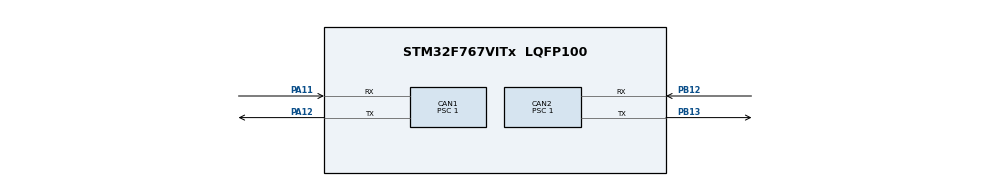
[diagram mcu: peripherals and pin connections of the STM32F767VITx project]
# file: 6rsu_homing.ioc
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CAN1.BS1=CAN_BS1_14TQ
CAN1.CalculateBaudRate=1000000
CAN1.CalculateTimeBit=1000
CAN1.CalculateTimeQuantum=62.5
CAN1.Prescaler=1
CAN2.BS1=CAN_BS1_14TQ
CAN2.CalculateBaudRate=1000000
CAN2.CalculateTimeBit=1000
CAN2.CalculateTimeQuantum=62.5
CAN2.Prescaler=1
Mcu.Family=STM32F7
Mcu.Name=STM32F767VITx
Mcu.Package=LQFP100
NVIC.CAN1_RX0_IRQn=true\:0\:0\:false\:false\:true\:true\:true\:true
NVIC.CAN1_RX1_IRQn=true\:0\:0\:false\:false\:true\:true\:true\:true
NVIC.CAN1_SCE_IRQn=true\:0\:0\:false\:false\:true\:true\:true\:true
NVIC.CAN1_TX_IRQn=true\:0\:0\:false\:false\:true\:true\:true\:true
NVIC.CAN2_RX0_IRQn=true\:0\:0\:false\:false\:true\:true\:true\:true
NVIC.CAN2_RX1_IRQn=true\:0\:0\:false\:false\:true\:true\:true\:true
NVIC.CAN2_SCE_IRQn=true\:0\:0\:false\:false\:true\:true\:true\:true
NVIC.CAN2_TX_IRQn=true\:0\:0\:false\:false\:true\:true\:true\:true
NVIC.PriorityGroup=NVIC_PRIORITYGROUP_4
NVIC.RCC_IRQn=true\:0\:0\:false\:false\:true\:true\:false\:true
NVIC.TIM8_TRG_COM_TIM14_IRQn=true\:0\:0\:false\:false\:true\:true\:true\:true
PA11.Mode=CAN_Activate
PA11.Signal=CAN1_RX
PA12.Mode=CAN_Activate
PA12.Signal=CAN1_TX
PA13.Mode=Serial_Wire
PA13.Signal=SYS_JTMS-SWDIO
PA14.Mode=Serial_Wire
PA14.Signal=SYS_JTCK-SWCLK
PB12.Mode=CAN_Activate
PB12.Signal=CAN2_RX
PB13.Mode=CAN_Activate
PB13.Signal=CAN2_TX
PH0/OSC_IN.Mode=HSE-External-Oscillator
PH0/OSC_IN.Signal=RCC_OSC_IN
PH1/OSC_OUT.Mode=HSE-External-Oscillator
PH1/OSC_OUT.Signal=RCC_OSC_OUT
ProjectManager.HeapSize=0x200
ProjectManager.StackSize=0x400
ProjectManager.TargetToolchain=STM32CubeIDE
RCC.HSE_VALUE=25000000
RCC.HSI_VALUE=16000000
RCC.LSE_VALUE=32768
RCC.USBFreq_Value=96000000
RCC.VCOOutputFreq_Value=192000000
TIM14.Period=999
TIM14.Prescaler=15
VP_TIM14_VS_ClockSourceINT.Mode=Enable_Timer
board=custom

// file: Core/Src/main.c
/* USER CODE BEGIN Header */
/**
  ******************************************************************************
  * @file           : main.c
  * @brief          : Main program body
  ******************************************************************************
  * @attention
  *
  * Copyright (c) 2024 STMicroelectronics.
  * All rights reserved.
  *
  * This software is licensed under terms that can be found in the LICENSE file
  * in the root directory of this software component.
  * If no LICENSE file comes with this software, it is provided AS-IS.
  *
  ******************************************************************************
  */
/* USER CODE END Header */
#include "main.h"

/* USER CODE BEGIN Includes */
#include "CO_app_STM32.h"
#include "CANopen.h"
#include "../CANopenNode/301/CO_SDOclient.h"
#include "../CANopenNode/301/CO_NMT_Heartbeat.h"
#include "../CANopenNode/301/CO_PDO.h"
#include "OD.h"
#include "math.h"
/* USER CODE END Includes */

CAN_HandleTypeDef hcan1;
CAN_HandleTypeDef hcan2;

TIM_HandleTypeDef htim14;

/* USER CODE BEGIN PV */
int8_t homing_method = 0x1;
int32_t homing_speeds_a = 1000;
int32_t homing_speeds_b = 1000;
int32_t homing_ACC = 800;
int32_t homeoffset ;
/* USER CODE END PV */

void SystemClock_Config(void);
static void MPU_Initialize(void);
static void MPU_Config(void);
static void MX_GPIO_Init(void);
static void MX_CAN1_Init(void);
static void MX_CAN2_Init(void);
static void MX_TIM14_Init(void);

/* USER CODE BEGIN 0 */
CO_SDO_abortCode_t read_SDO(CO_SDOclient_t *SDO_C, uint8_t nodeId,
                            uint16_t index, uint8_t subIndex,
                            uint8_t *buf, size_t bufSize, size_t *readSize)
{
    CO_SDO_return_t SDO_ret;

    // setup client (this can be skipped, if remote device don't change)
    SDO_ret = CO_SDOclient_setup(SDO_C,
                                 CO_CAN_ID_SDO_CLI + nodeId,
                                 CO_CAN_ID_SDO_SRV + nodeId,
                                 nodeId);
    if (SDO_ret != CO_SDO_RT_ok_communicationEnd) {
        return CO_SDO_AB_GENERAL;
    }

    // initiate upload
    SDO_ret = CO_SDOclientUploadInitiate(SDO_C, index, subIndex, 1000, false);
    if (SDO_ret != CO_SDO_RT_ok_communicationEnd) {
        return CO_SDO_AB_GENERAL;
    }

    // upload data
    do {
        uint32_t timeDifference_us = 10000;
        CO_SDO_abortCode_t abortCode = CO_SDO_AB_NONE;

        SDO_ret = CO_SDOclientUpload(SDO_C,
                                     timeDifference_us,
                                     false,
                                     &abortCode,
                                     NULL, NULL, NULL);
        if (SDO_ret < 0) {
            return abortCode;
        }

        HAL_Delay(1);
    } while(SDO_ret > 0);

    // copy data to the user buffer (for long data function must be called
    // several times inside the loop)
    *readSize = CO_SDOclientUploadBufRead(SDO_C, buf, bufSize);

    return CO_SDO_AB_NONE;
}

CO_SDO_abortCode_t write_SDO(CO_SDOclient_t *SDO_C, uint8_t nodeId,
                             uint16_t index, uint8_t subIndex,
                             uint8_t *data, size_t dataSize)
{
    CO_SDO_return_t SDO_ret;
    bool_t bufferPartial = false;

    // setup client (this can be skipped, if remote device is the same)
    SDO_ret = CO_SDOclient_setup(SDO_C,
                                 CO_CAN_ID_SDO_CLI + nodeId,
                                 CO_CAN_ID_SDO_SRV + nodeId,
                                 nodeId);
    if (SDO_ret != CO_SDO_RT_ok_communicationEnd) {
        return -1;
    }

    // initiate download
    SDO_ret = CO_SDOclientDownloadInitiate(SDO_C, index, subIndex,
                                           dataSize, 1000, false);
    if (SDO_ret != CO_SDO_RT_ok_communicationEnd) {
        return -1;
    }

    // fill data
    size_t nWritten = CO_SDOclientDownloadBufWrite(SDO_C, data, dataSize);
    if (nWritten < dataSize) {
        bufferPartial = true;
        // If SDO Fifo buffer is too small, data can be refilled in the loop.
    }

    //download data
    do {
        uint32_t timeDifference_us = 10000;
        CO_SDO_abortCode_t abortCode = CO_SDO_AB_NONE;

        SDO_ret = CO_SDOclientDownload(SDO_C,
                                       timeDifference_us,
                                       false,
                                       bufferPartial,
                                       &abortCode,
                                       NULL, NULL);
        if (SDO_ret < 0) {
            return abortCode;
        }

        HAL_Delay(1);
    } while(SDO_ret > 0);

    return CO_SDO_AB_NONE;
}
/* USER CODE END 0 */

int main(void)
{

  /* MCU Configuration--------------------------------------------------------*/

  /* Reset of all peripherals, Initializes the Flash interface and the Systick. */
  HAL_Init();

  /* MPU Configuration--------------------------------------------------------*/
  MPU_Config();

  /* Configure the system clock */
  SystemClock_Config();

  /* Initialize all configured peripherals */
  MX_GPIO_Init();
  MX_CAN1_Init();
  MX_CAN2_Init();
  MX_TIM14_Init();
  /* USER CODE BEGIN 2 */
  CANopenNodeSTM32 canopenNodeSTM32;
      canopenNodeSTM32.CANHandle = &hcan2;
      canopenNodeSTM32.HWInitFunction = MX_CAN2_Init;
      canopenNodeSTM32.timerHandle = &htim14;
      canopenNodeSTM32.desiredNodeID = 7;
      canopenNodeSTM32.baudrate = 1000;
      canopen_app_init(&canopenNodeSTM32);

      uint16_t tmp1 = 0x80;
      uint16_t tmp2 = 0x00;
      uint16_t tmp3 = 0x06;
      uint16_t tmp4 = 0x07;
      uint16_t tmp5 = 0x0F;
      uint16_t tmp6 = 0x1F;

      int8_t homing_mode = 0x06;
      int32_t homeoffset1;
      int32_t homeoffset2;
      int32_t homeoffset3;
      int32_t homeoffset4;
      int32_t homeoffset5;
      int32_t homeoffset6;

//control_word for node1(Gearbox1)...............................................................

      write_SDO(canopenNodeSTM32.canOpenStack->SDOclient , 1, 0x6040, 00, &tmp1, 2);
      HAL_Delay(10);
      write_SDO(canopenNodeSTM32.canOpenStack->SDOclient , 1, 0x6040, 00, &tmp2, 2);
      HAL_Delay(10);
      write_SDO(canopenNodeSTM32.canOpenStack->SDOclient , 1, 0x6040, 00, &tmp3, 2);
      HAL_Delay(10);
      write_SDO(canopenNodeSTM32.canOpenStack->SDOclient , 1, 0x6040, 00, &tmp4, 2);
      HAL_Delay(10);
      write_SDO(canopenNodeSTM32.canOpenStack->SDOclient , 1, 0x6040, 00, &tmp5, 2);
      HAL_Delay(10);

//control_word for node2(Gearbox2)...............................................................

      write_SDO(canopenNodeSTM32.canOpenStack->SDOclient , 2, 0x6040, 00, &tmp1, 2);
      HAL_Delay(10);
      write_SDO(canopenNodeSTM32.canOpenStack->SDOclient , 2, 0x6040, 00, &tmp2, 2);
      HAL_Delay(10);
      write_SDO(canopenNodeSTM32.canOpenStack->SDOclient , 2, 0x6040, 00, &tmp3, 2);
      HAL_Delay(10);
      write_SDO(canopenNodeSTM32.canOpenStack->SDOclient , 2, 0x6040, 00, &tmp4, 2);
      HAL_Delay(10);
      write_SDO(canopenNodeSTM32.canOpenStack->SDOclient , 2, 0x6040, 00, &tmp5, 2);
      HAL_Delay(10);

//control_word for node3(Gearbox3)...............................................................

      write_SDO(canopenNodeSTM32.canOpenStack->SDOclient , 3, 0x6040, 00, &tmp1, 2);
      HAL_Delay(10);
      write_SDO(canopenNodeSTM32.canOpenStack->SDOclient , 3, 0x6040, 00, &tmp2, 2);
      HAL_Delay(10);
      write_SDO(canopenNodeSTM32.canOpenStack->SDOclient , 3, 0x6040, 00, &tmp3, 2);
      HAL_Delay(10);
      write_SDO(canopenNodeSTM32.canOpenStack->SDOclient , 3, 0x6040, 00, &tmp4, 2);
      HAL_Delay(10);
      write_SDO(canopenNodeSTM32.canOpenStack->SDOclient , 3, 0x6040, 00, &tmp5, 2);
      HAL_Delay(10);

//control_word for node4(Gearbox4)...............................................................

      write_SDO(canopenNodeSTM32.canOpenStack->SDOclient , 4, 0x6040, 00, &tmp1, 2);
      HAL_Delay(10);
      write_SDO(canopenNodeSTM32.canOpenStack->SDOclient , 4, 0x6040, 00, &tmp2, 2);
      HAL_Delay(10);
      write_SDO(canopenNodeSTM32.canOpenStack->SDOclient , 4, 0x6040, 00, &tmp3, 2);
      HAL_Delay(10);
      write_SDO(canopenNodeSTM32.canOpenStack->SDOclient , 4, 0x6040, 00, &tmp4, 2);
      HAL_Delay(10);
      write_SDO(canopenNodeSTM32.canOpenStack->SDOclient , 4, 0x6040, 00, &tmp5, 2);
      HAL_Delay(10);

//control_word for node5(Gearbox5)...............................................................

      write_SDO(canopenNodeSTM32.canOpenStack->SDOclient , 5, 0x6040, 00, &tmp1, 2);
      HAL_Delay(10);
      write_SDO(canopenNodeSTM32.canOpenStack->SDOclient , 5, 0x6040, 00, &tmp2, 2);
      HAL_Delay(10);
      write_SDO(canopenNodeSTM32.canOpenStack->SDOclient , 5, 0x6040, 00, &tmp3, 2);
      HAL_Delay(10);
      write_SDO(canopenNodeSTM32.canOpenStack->SDOclient , 5, 0x6040, 00, &tmp4, 2);
      HAL_Delay(10);
      write_SDO(canopenNodeSTM32.canOpenStack->SDOclient , 5, 0x6040, 00, &tmp5, 2);
      HAL_Delay(10);

//control_word for node6(Gearbox6)...............................................................

      write_SDO(canopenNodeSTM32.canOpenStack->SDOclient , 6, 0x6040, 00, &tmp1, 2);
      HAL_Delay(10);
      write_SDO(canopenNodeSTM32.canOpenStack->SDOclient , 6, 0x6040, 00, &tmp2, 2);
      HAL_Delay(10);
      write_SDO(canopenNodeSTM32.canOpenStack->SDOclient , 6, 0x6040, 00, &tmp3, 2);
      HAL_Delay(10);
      write_SDO(canopenNodeSTM32.canOpenStack->SDOclient , 6, 0x6040, 00, &tmp4, 2);
      HAL_Delay(10);
      write_SDO(canopenNodeSTM32.canOpenStack->SDOclient , 6, 0x6040, 00, &tmp5, 2);
      HAL_Delay(10);

//offset is optional and you can use it if needed.......................................................................................

//      	 homeoffset1 = 9514666;
//		 write_SDO(canopenNodeSTM32.canOpenStack->SDOclient , 1, 0x607C, 00, &homeoffset1, 4);
//		 HAL_Delay(10);
//      	 homeoffset2 = 10130000 ;
//		 write_SDO(canopenNodeSTM32.canOpenStack->SDOclient , 2, 0x607C, 00, &homeoffset2, 4);
//		 HAL_Delay(10);
//      	 homeoffset3 = 8953333 ;
//		 write_SDO(canopenNodeSTM32.canOpenStack->SDOclient , 3, 0x607C, 00, &homeoffset3, 4);
//		 HAL_Delay(10);
//      	 homeoffset4 = 10527555 ;
//		 write_SDO(canopenNodeSTM32.canOpenStack->SDOclient , 4, 0x607C, 00, &homeoffset4, 4);
//		 HAL_Delay(10);
//      	 homeoffset5 = 8646666 ;
//		 write_SDO(canopenNodeSTM32.canOpenStack->SDOclient , 5, 0x607C, 00, &homeoffset5, 4);
//		 HAL_Delay(10);
//      	 homeoffset6 = 9386666 ;
//		 write_SDO(canopenNodeSTM32.canOpenStack->SDOclient , 6, 0x607C, 00, &homeoffset6, 4);
//		 HAL_Delay(10);
//
//
//		 write_SDO(canopenNodeSTM32.canOpenStack->SDOclient , 1, 0x607C, 00, &homeoffset, 4);
//		 HAL_Delay(10);
//		 write_SDO(canopenNodeSTM32.canOpenStack->SDOclient , 2, 0x607C, 00, &homeoffset, 4);
//		 HAL_Delay(10);
//		 write_SDO(canopenNodeSTM32.canOpenStack->SDOclient , 3, 0x607C, 00, &homeoffset, 4);
//		 HAL_Delay(10);
//		 write_SDO(canopenNodeSTM32.canOpenStack->SDOclient , 4, 0x607C, 00, &homeoffset, 4);
//		 HAL_Delay(10);
//		 write_SDO(canopenNodeSTM32.canOpenStack->SDOclient , 5, 0x607C, 00, &homeoffset, 4);
//		 HAL_Delay(10);
//		 write_SDO(canopenNodeSTM32.canOpenStack->SDOclient , 6, 0x607C, 00, &homeoffset, 4);
//		 HAL_Delay(10);

//Specify mode........................................................................................................................................

		 write_SDO(canopenNodeSTM32.canOpenStack->SDOclient , 1, 0x6060, 00, &homing_mode, 1);
		 HAL_Delay(10);
		 write_SDO(canopenNodeSTM32.canOpenStack->SDOclient , 2, 0x6060, 00, &homing_mode, 1);
      	 HAL_Delay(10);
		 write_SDO(canopenNodeSTM32.canOpenStack->SDOclient , 3, 0x6060, 00, &homing_mode, 1);
		 HAL_Delay(10);
		 write_SDO(canopenNodeSTM32.canOpenStack->SDOclient , 4, 0x6060, 00, &homing_mode, 1);
		 HAL_Delay(10);
		 write_SDO(canopenNodeSTM32.canOpenStack->SDOclient , 5, 0x6060, 00, &homing_mode, 1);
		 HAL_Delay(10);
		 write_SDO(canopenNodeSTM32.canOpenStack->SDOclient , 6, 0x6060, 00, &homing_mode, 1);
		 HAL_Delay(10);

//Specify method.......................................................................................................................................

		 write_SDO(canopenNodeSTM32.canOpenStack->SDOclient , 1, 0x6098, 00, &homing_method, 1);
		 HAL_Delay(10);
		 write_SDO(canopenNodeSTM32.canOpenStack->SDOclient , 2, 0x6098, 00, &homing_method, 1);
		 HAL_Delay(10);
		 write_SDO(canopenNodeSTM32.canOpenStack->SDOclient , 3, 0x6098, 00, &homing_method, 1);
		 HAL_Delay(10);
		 write_SDO(canopenNodeSTM32.canOpenStack->SDOclient , 4, 0x6098, 00, &homing_method, 1);
		 HAL_Delay(10);
		 write_SDO(canopenNodeSTM32.canOpenStack->SDOclient , 5, 0x6098, 00, &homing_method, 1);
		 HAL_Delay(10);
		 write_SDO(canopenNodeSTM32.canOpenStack->SDOclient , 6, 0x6098, 00, &homing_method, 1);
		 HAL_Delay(10);

//Speed of the outward trajectory...................................................................................................................

		 write_SDO(canopenNodeSTM32.canOpenStack->SDOclient , 1, 0x6099, 01, &homing_speeds_a, 4);
		 HAL_Delay(10);
		 write_SDO(canopenNodeSTM32.canOpenStack->SDOclient , 2, 0x6099, 01, &homing_speeds_a, 4);
		 HAL_Delay(10);
		 write_SDO(canopenNodeSTM32.canOpenStack->SDOclient , 3, 0x6099, 01, &homing_speeds_a, 4);
		 HAL_Delay(10);
		 write_SDO(canopenNodeSTM32.canOpenStack->SDOclient , 4, 0x6099, 01, &homing_speeds_a, 4);
		 HAL_Delay(10);
		 write_SDO(canopenNodeSTM32.canOpenStack->SDOclient , 5, 0x6099, 01, &homing_speeds_a, 4);
		 HAL_Delay(10);
		 write_SDO(canopenNodeSTM32.canOpenStack->SDOclient , 6, 0x6099, 01, &homing_speeds_a, 4);
		 HAL_Delay(10);

//Speed of the return trajectory.....................................................................................................................

		 write_SDO(canopenNodeSTM32.canOpenStack->SDOclient , 1, 0x6099, 02, &homing_speeds_b, 4);
		 HAL_Delay(10);
		 write_SDO(canopenNodeSTM32.canOpenStack->SDOclient , 2, 0x6099, 02, &homing_speeds_b, 4);
		 HAL_Delay(10);
		 write_SDO(canopenNodeSTM32.canOpenStack->SDOclient , 3, 0x6099, 02, &homing_speeds_b, 4);
		 HAL_Delay(10);
		 write_SDO(canopenNodeSTM32.canOpenStack->SDOclient , 4, 0x6099, 02, &homing_speeds_b, 4);
		 HAL_Delay(10);
		 write_SDO(canopenNodeSTM32.canOpenStack->SDOclient , 5, 0x6099, 02, &homing_speeds_b, 4);
		 HAL_Delay(10);
		 write_SDO(canopenNodeSTM32.canOpenStack->SDOclient , 6, 0x6099, 02, &homing_speeds_b, 4);
		 HAL_Delay(10);

//Specify acceleration....................................................................................................................................

		 write_SDO(canopenNodeSTM32.canOpenStack->SDOclient , 1, 0x609A, 02, &homing_ACC, 4);
		 HAL_Delay(10);
		 write_SDO(canopenNodeSTM32.canOpenStack->SDOclient , 2, 0x609A, 02, &homing_ACC, 4);
		 HAL_Delay(10);
		 write_SDO(canopenNodeSTM32.canOpenStack->SDOclient , 3, 0x609A, 02, &homing_ACC, 4);
		 HAL_Delay(10);
		 write_SDO(canopenNodeSTM32.canOpenStack->SDOclient , 4, 0x609A, 02, &homing_ACC, 4);
		 HAL_Delay(10);
		 write_SDO(canopenNodeSTM32.canOpenStack->SDOclient , 5, 0x609A, 02, &homing_ACC, 4);
		 HAL_Delay(10);
		 write_SDO(canopenNodeSTM32.canOpenStack->SDOclient , 6, 0x609A, 02, &homing_ACC, 4);
		 HAL_Delay(10);

//control_word temp6.....................................................................................................................................

		 write_SDO(canopenNodeSTM32.canOpenStack->SDOclient , 1, 0x6040, 00, &tmp6, 2);
		 HAL_Delay(10);
		 write_SDO(canopenNodeSTM32.canOpenStack->SDOclient , 2, 0x6040, 00, &tmp6, 2);
		 HAL_Delay(10);
		 write_SDO(canopenNodeSTM32.canOpenStack->SDOclient , 3, 0x6040, 00, &tmp6, 2);
		 HAL_Delay(10);
		 write_SDO(canopenNodeSTM32.canOpenStack->SDOclient , 4, 0x6040, 00, &tmp6, 2);
		 HAL_Delay(10);
		 write_SDO(canopenNodeSTM32.canOpenStack->SDOclient , 5, 0x6040, 00, &tmp6, 2);
		 HAL_Delay(10);
		 write_SDO(canopenNodeSTM32.canOpenStack->SDOclient , 6, 0x6040, 00, &tmp6, 2);
		 HAL_Delay(10);

  /* USER CODE END 2 */

  /* Infinite loop */
  while (1)
  {

	  canopen_app_process();
  }
}

void SystemClock_Config(void)
{
  RCC_OscInitTypeDef RCC_OscInitStruct = {0};
  RCC_ClkInitTypeDef RCC_ClkInitStruct = {0};

  /** Configure the main internal regulator output voltage
  */
  __HAL_RCC_PWR_CLK_ENABLE();
  __HAL_PWR_VOLTAGESCALING_CONFIG(PWR_REGULATOR_VOLTAGE_SCALE3);

  /** Initializes the RCC Oscillators according to the specified parameters
  * in the RCC_OscInitTypeDef structure.
  */
  RCC_OscInitStruct.OscillatorType = RCC_OSCILLATORTYPE_HSI;
  RCC_OscInitStruct.HSIState = RCC_HSI_ON;
  RCC_OscInitStruct.HSICalibrationValue = RCC_HSICALIBRATION_DEFAULT;
  RCC_OscInitStruct.PLL.PLLState = RCC_PLL_NONE;
  if (HAL_RCC_OscConfig(&RCC_OscInitStruct) != HAL_OK)
  {
    Error_Handler();
  }

  /** Initializes the CPU, AHB and APB buses clocks
  */
  RCC_ClkInitStruct.ClockType = RCC_CLOCKTYPE_HCLK|RCC_CLOCKTYPE_SYSCLK
                              |RCC_CLOCKTYPE_PCLK1|RCC_CLOCKTYPE_PCLK2;
  RCC_ClkInitStruct.SYSCLKSource = RCC_SYSCLKSOURCE_HSI;
  RCC_ClkInitStruct.AHBCLKDivider = RCC_SYSCLK_DIV1;
  RCC_ClkInitStruct.APB1CLKDivider = RCC_HCLK_DIV1;
  RCC_ClkInitStruct.APB2CLKDivider = RCC_HCLK_DIV1;

  if (HAL_RCC_ClockConfig(&RCC_ClkInitStruct, FLASH_LATENCY_0) != HAL_OK)
  {
    Error_Handler();
  }
}

static void MX_CAN1_Init(void)
{

  hcan1.Instance = CAN1;
  hcan1.Init.Prescaler = 1;
  hcan1.Init.Mode = CAN_MODE_NORMAL;
  hcan1.Init.SyncJumpWidth = CAN_SJW_1TQ;
  hcan1.Init.TimeSeg1 = CAN_BS1_14TQ;
  hcan1.Init.TimeSeg2 = CAN_BS2_1TQ;
  hcan1.Init.TimeTriggeredMode = DISABLE;
  hcan1.Init.AutoBusOff = DISABLE;
  hcan1.Init.AutoWakeUp = DISABLE;
  hcan1.Init.AutoRetransmission = DISABLE;
  hcan1.Init.ReceiveFifoLocked = DISABLE;
  hcan1.Init.TransmitFifoPriority = DISABLE;
  if (HAL_CAN_Init(&hcan1) != HAL_OK)
  {
    Error_Handler();
  }

}

static void MX_CAN2_Init(void)
{

  hcan2.Instance = CAN2;
  hcan2.Init.Prescaler = 1;
  hcan2.Init.Mode = CAN_MODE_NORMAL;
  hcan2.Init.SyncJumpWidth = CAN_SJW_1TQ;
  hcan2.Init.TimeSeg1 = CAN_BS1_14TQ;
  hcan2.Init.TimeSeg2 = CAN_BS2_1TQ;
  hcan2.Init.TimeTriggeredMode = DISABLE;
  hcan2.Init.AutoBusOff = DISABLE;
  hcan2.Init.AutoWakeUp = DISABLE;
  hcan2.Init.AutoRetransmission = DISABLE;
  hcan2.Init.ReceiveFifoLocked = DISABLE;
  hcan2.Init.TransmitFifoPriority = DISABLE;
  if (HAL_CAN_Init(&hcan2) != HAL_OK)
  {
    Error_Handler();
  }

}

static void MX_TIM14_Init(void)
{

  htim14.Instance = TIM14;
  htim14.Init.Prescaler = 15;
  htim14.Init.CounterMode = TIM_COUNTERMODE_UP;
  htim14.Init.Period = 999;
  htim14.Init.ClockDivision = TIM_CLOCKDIVISION_DIV1;
  htim14.Init.AutoReloadPreload = TIM_AUTORELOAD_PRELOAD_DISABLE;
  if (HAL_TIM_Base_Init(&htim14) != HAL_OK)
  {
    Error_Handler();
  }

}

static void MX_GPIO_Init(void)
{

  /* GPIO Ports Clock Enable */
  __HAL_RCC_GPIOH_CLK_ENABLE();
  __HAL_RCC_GPIOB_CLK_ENABLE();
  __HAL_RCC_GPIOA_CLK_ENABLE();

}

/* MPU Configuration */

void MPU_Config(void)
{
  MPU_Region_InitTypeDef MPU_InitStruct = {0};

  /* Disables the MPU */
  HAL_MPU_Disable();

  /** Initializes and configures the Region and the memory to be protected
  */
  MPU_InitStruct.Enable = MPU_REGION_ENABLE;
  MPU_InitStruct.Number = MPU_REGION_NUMBER0;
  MPU_InitStruct.BaseAddress = 0x0;
  MPU_InitStruct.Size = MPU_REGION_SIZE_4GB;
  MPU_InitStruct.SubRegionDisable = 0x87;
  MPU_InitStruct.TypeExtField = MPU_TEX_LEVEL0;
  MPU_InitStruct.AccessPermission = MPU_REGION_NO_ACCESS;
  MPU_InitStruct.DisableExec = MPU_INSTRUCTION_ACCESS_DISABLE;
  MPU_InitStruct.IsShareable = MPU_ACCESS_SHAREABLE;
  MPU_InitStruct.IsCacheable = MPU_ACCESS_NOT_CACHEABLE;
  MPU_InitStruct.IsBufferable = MPU_ACCESS_NOT_BUFFERABLE;

  HAL_MPU_ConfigRegion(&MPU_InitStruct);
  /* Enables the MPU */
  HAL_MPU_Enable(MPU_PRIVILEGED_DEFAULT);

}

void Error_Handler(void)
{
  __disable_irq();
  while (1)
  {
  }
}
